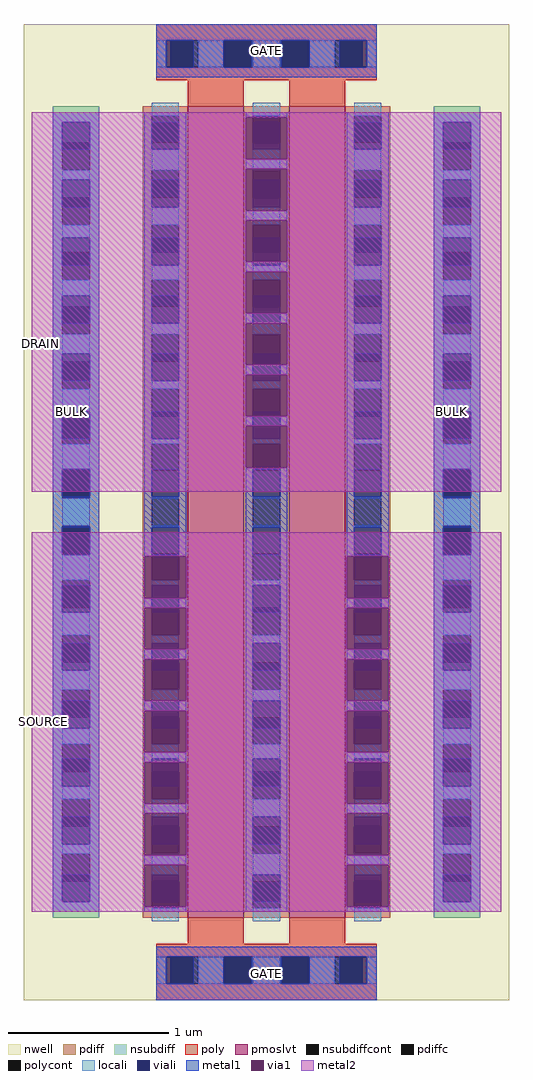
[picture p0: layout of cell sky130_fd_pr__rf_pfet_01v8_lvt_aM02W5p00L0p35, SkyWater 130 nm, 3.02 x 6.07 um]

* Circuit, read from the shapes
.subckt sky130_fd_pr__rf_pfet_01v8_lvt_aM02W5p00L0p35 BULK DRAIN GATE SOURCE
XM1 DRAIN GATE SOURCE BULK sky130_fd_pr__pfet_01v8_lvt w=5.05 l=0.35 m=2
.ends

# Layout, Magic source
magic
tech sky130A
magscale 1 2
<< nwell >>
rect 0 0 604 1214
<< pmoslvt >>
rect 204 102 274 1112
rect 330 102 400 1112
<< pdiff >>
rect 148 1100 204 1112
rect 148 1066 159 1100
rect 193 1066 204 1100
rect 148 1032 204 1066
rect 148 998 159 1032
rect 193 998 204 1032
rect 148 964 204 998
rect 148 930 159 964
rect 193 930 204 964
rect 148 896 204 930
rect 148 862 159 896
rect 193 862 204 896
rect 148 828 204 862
rect 148 794 159 828
rect 193 794 204 828
rect 148 760 204 794
rect 148 726 159 760
rect 193 726 204 760
rect 148 692 204 726
rect 148 658 159 692
rect 193 658 204 692
rect 148 624 204 658
rect 148 590 159 624
rect 193 590 204 624
rect 148 556 204 590
rect 148 522 159 556
rect 193 522 204 556
rect 148 488 204 522
rect 148 454 159 488
rect 193 454 204 488
rect 148 420 204 454
rect 148 386 159 420
rect 193 386 204 420
rect 148 352 204 386
rect 148 318 159 352
rect 193 318 204 352
rect 148 284 204 318
rect 148 250 159 284
rect 193 250 204 284
rect 148 216 204 250
rect 148 182 159 216
rect 193 182 204 216
rect 148 148 204 182
rect 148 114 159 148
rect 193 114 204 148
rect 148 102 204 114
rect 274 1100 330 1112
rect 274 1066 285 1100
rect 319 1066 330 1100
rect 274 1032 330 1066
rect 274 998 285 1032
rect 319 998 330 1032
rect 274 964 330 998
rect 274 930 285 964
rect 319 930 330 964
rect 274 896 330 930
rect 274 862 285 896
rect 319 862 330 896
rect 274 828 330 862
rect 274 794 285 828
rect 319 794 330 828
rect 274 760 330 794
rect 274 726 285 760
rect 319 726 330 760
rect 274 692 330 726
rect 274 658 285 692
rect 319 658 330 692
rect 274 624 330 658
rect 274 590 285 624
rect 319 590 330 624
rect 274 556 330 590
rect 274 522 285 556
rect 319 522 330 556
rect 274 488 330 522
rect 274 454 285 488
rect 319 454 330 488
rect 274 420 330 454
rect 274 386 285 420
rect 319 386 330 420
rect 274 352 330 386
rect 274 318 285 352
rect 319 318 330 352
rect 274 284 330 318
rect 274 250 285 284
rect 319 250 330 284
rect 274 216 330 250
rect 274 182 285 216
rect 319 182 330 216
rect 274 148 330 182
rect 274 114 285 148
rect 319 114 330 148
rect 274 102 330 114
rect 400 1100 456 1112
rect 400 1066 411 1100
rect 445 1066 456 1100
rect 400 1032 456 1066
rect 400 998 411 1032
rect 445 998 456 1032
rect 400 964 456 998
rect 400 930 411 964
rect 445 930 456 964
rect 400 896 456 930
rect 400 862 411 896
rect 445 862 456 896
rect 400 828 456 862
rect 400 794 411 828
rect 445 794 456 828
rect 400 760 456 794
rect 400 726 411 760
rect 445 726 456 760
rect 400 692 456 726
rect 400 658 411 692
rect 445 658 456 692
rect 400 624 456 658
rect 400 590 411 624
rect 445 590 456 624
rect 400 556 456 590
rect 400 522 411 556
rect 445 522 456 556
rect 400 488 456 522
rect 400 454 411 488
rect 445 454 456 488
rect 400 420 456 454
rect 400 386 411 420
rect 445 386 456 420
rect 400 352 456 386
rect 400 318 411 352
rect 445 318 456 352
rect 400 284 456 318
rect 400 250 411 284
rect 445 250 456 284
rect 400 216 456 250
rect 400 182 411 216
rect 445 182 456 216
rect 400 148 456 182
rect 400 114 411 148
rect 445 114 456 148
rect 400 102 456 114
<< pdiffc >>
rect 159 1066 193 1100
rect 159 998 193 1032
rect 159 930 193 964
rect 159 862 193 896
rect 159 794 193 828
rect 159 726 193 760
rect 159 658 193 692
rect 159 590 193 624
rect 159 522 193 556
rect 159 454 193 488
rect 159 386 193 420
rect 159 318 193 352
rect 159 250 193 284
rect 159 182 193 216
rect 159 114 193 148
rect 285 1066 319 1100
rect 285 998 319 1032
rect 285 930 319 964
rect 285 862 319 896
rect 285 794 319 828
rect 285 726 319 760
rect 285 658 319 692
rect 285 590 319 624
rect 285 522 319 556
rect 285 454 319 488
rect 285 386 319 420
rect 285 318 319 352
rect 285 250 319 284
rect 285 182 319 216
rect 285 114 319 148
rect 411 1066 445 1100
rect 411 998 445 1032
rect 411 930 445 964
rect 411 862 445 896
rect 411 794 445 828
rect 411 726 445 760
rect 411 658 445 692
rect 411 590 445 624
rect 411 522 445 556
rect 411 454 445 488
rect 411 386 445 420
rect 411 318 445 352
rect 411 250 445 284
rect 411 182 445 216
rect 411 114 445 148
<< nsubdiff >>
rect 36 1066 94 1112
rect 36 1032 48 1066
rect 82 1032 94 1066
rect 36 998 94 1032
rect 36 964 48 998
rect 82 964 94 998
rect 36 930 94 964
rect 36 896 48 930
rect 82 896 94 930
rect 36 862 94 896
rect 36 828 48 862
rect 82 828 94 862
rect 36 794 94 828
rect 36 760 48 794
rect 82 760 94 794
rect 36 726 94 760
rect 36 692 48 726
rect 82 692 94 726
rect 36 658 94 692
rect 36 624 48 658
rect 82 624 94 658
rect 36 590 94 624
rect 36 556 48 590
rect 82 556 94 590
rect 36 522 94 556
rect 36 488 48 522
rect 82 488 94 522
rect 36 454 94 488
rect 36 420 48 454
rect 82 420 94 454
rect 36 386 94 420
rect 36 352 48 386
rect 82 352 94 386
rect 36 318 94 352
rect 36 284 48 318
rect 82 284 94 318
rect 36 250 94 284
rect 36 216 48 250
rect 82 216 94 250
rect 36 182 94 216
rect 36 148 48 182
rect 82 148 94 182
rect 36 102 94 148
rect 510 1066 568 1112
rect 510 1032 522 1066
rect 556 1032 568 1066
rect 510 998 568 1032
rect 510 964 522 998
rect 556 964 568 998
rect 510 930 568 964
rect 510 896 522 930
rect 556 896 568 930
rect 510 862 568 896
rect 510 828 522 862
rect 556 828 568 862
rect 510 794 568 828
rect 510 760 522 794
rect 556 760 568 794
rect 510 726 568 760
rect 510 692 522 726
rect 556 692 568 726
rect 510 658 568 692
rect 510 624 522 658
rect 556 624 568 658
rect 510 590 568 624
rect 510 556 522 590
rect 556 556 568 590
rect 510 522 568 556
rect 510 488 522 522
rect 556 488 568 522
rect 510 454 568 488
rect 510 420 522 454
rect 556 420 568 454
rect 510 386 568 420
rect 510 352 522 386
rect 556 352 568 386
rect 510 318 568 352
rect 510 284 522 318
rect 556 284 568 318
rect 510 250 568 284
rect 510 216 522 250
rect 556 216 568 250
rect 510 182 568 216
rect 510 148 522 182
rect 556 148 568 182
rect 510 102 568 148
<< nsubdiffcont >>
rect 48 1032 82 1066
rect 48 964 82 998
rect 48 896 82 930
rect 48 828 82 862
rect 48 760 82 794
rect 48 692 82 726
rect 48 624 82 658
rect 48 556 82 590
rect 48 488 82 522
rect 48 420 82 454
rect 48 352 82 386
rect 48 284 82 318
rect 48 216 82 250
rect 48 148 82 182
rect 522 1032 556 1066
rect 522 964 556 998
rect 522 896 556 930
rect 522 828 556 862
rect 522 760 556 794
rect 522 692 556 726
rect 522 624 556 658
rect 522 556 556 590
rect 522 488 556 522
rect 522 420 556 454
rect 522 352 556 386
rect 522 284 556 318
rect 522 216 556 250
rect 522 148 556 182
<< poly >>
rect 165 1194 439 1214
rect 165 1160 183 1194
rect 217 1160 251 1194
rect 285 1160 319 1194
rect 353 1160 387 1194
rect 421 1160 439 1194
rect 165 1144 439 1160
rect 204 1112 274 1144
rect 330 1112 400 1144
rect 204 70 274 102
rect 330 70 400 102
rect 165 54 439 70
rect 165 20 183 54
rect 217 20 251 54
rect 285 20 319 54
rect 353 20 387 54
rect 421 20 439 54
rect 165 0 439 20
<< polycont >>
rect 183 1160 217 1194
rect 251 1160 285 1194
rect 319 1160 353 1194
rect 387 1160 421 1194
rect 183 20 217 54
rect 251 20 285 54
rect 319 20 353 54
rect 387 20 421 54
<< locali >>
rect 165 1160 177 1194
rect 217 1160 249 1194
rect 285 1160 319 1194
rect 355 1160 387 1194
rect 427 1160 439 1194
rect 159 1100 193 1116
rect 48 1020 82 1032
rect 48 948 82 964
rect 48 876 82 896
rect 48 804 82 828
rect 48 732 82 760
rect 48 660 82 692
rect 48 590 82 624
rect 48 522 82 554
rect 48 454 82 482
rect 48 386 82 410
rect 48 318 82 338
rect 48 250 82 266
rect 48 182 82 194
rect 159 1032 193 1058
rect 159 964 193 986
rect 159 896 193 914
rect 159 828 193 842
rect 159 760 193 770
rect 159 692 193 698
rect 159 624 193 626
rect 159 588 193 590
rect 159 516 193 522
rect 159 444 193 454
rect 159 372 193 386
rect 159 300 193 318
rect 159 228 193 250
rect 159 156 193 182
rect 159 98 193 114
rect 285 1100 319 1116
rect 285 1032 319 1058
rect 285 964 319 986
rect 285 896 319 914
rect 285 828 319 842
rect 285 760 319 770
rect 285 692 319 698
rect 285 624 319 626
rect 285 588 319 590
rect 285 516 319 522
rect 285 444 319 454
rect 285 372 319 386
rect 285 300 319 318
rect 285 228 319 250
rect 285 156 319 182
rect 285 98 319 114
rect 411 1100 445 1116
rect 411 1032 445 1058
rect 411 964 445 986
rect 411 896 445 914
rect 411 828 445 842
rect 411 760 445 770
rect 411 692 445 698
rect 411 624 445 626
rect 411 588 445 590
rect 411 516 445 522
rect 411 444 445 454
rect 411 372 445 386
rect 411 300 445 318
rect 411 228 445 250
rect 411 156 445 182
rect 522 1020 556 1032
rect 522 948 556 964
rect 522 876 556 896
rect 522 804 556 828
rect 522 732 556 760
rect 522 660 556 692
rect 522 590 556 624
rect 522 522 556 554
rect 522 454 556 482
rect 522 386 556 410
rect 522 318 556 338
rect 522 250 556 266
rect 522 182 556 194
rect 411 98 445 114
rect 165 20 177 54
rect 217 20 249 54
rect 285 20 319 54
rect 355 20 387 54
rect 427 20 439 54
<< viali >>
rect 177 1160 183 1194
rect 183 1160 211 1194
rect 249 1160 251 1194
rect 251 1160 283 1194
rect 321 1160 353 1194
rect 353 1160 355 1194
rect 393 1160 421 1194
rect 421 1160 427 1194
rect 48 1066 82 1092
rect 48 1058 82 1066
rect 48 998 82 1020
rect 48 986 82 998
rect 48 930 82 948
rect 48 914 82 930
rect 48 862 82 876
rect 48 842 82 862
rect 48 794 82 804
rect 48 770 82 794
rect 48 726 82 732
rect 48 698 82 726
rect 48 658 82 660
rect 48 626 82 658
rect 48 556 82 588
rect 48 554 82 556
rect 48 488 82 516
rect 48 482 82 488
rect 48 420 82 444
rect 48 410 82 420
rect 48 352 82 372
rect 48 338 82 352
rect 48 284 82 300
rect 48 266 82 284
rect 48 216 82 228
rect 48 194 82 216
rect 48 148 82 156
rect 48 122 82 148
rect 159 1066 193 1092
rect 159 1058 193 1066
rect 159 998 193 1020
rect 159 986 193 998
rect 159 930 193 948
rect 159 914 193 930
rect 159 862 193 876
rect 159 842 193 862
rect 159 794 193 804
rect 159 770 193 794
rect 159 726 193 732
rect 159 698 193 726
rect 159 658 193 660
rect 159 626 193 658
rect 159 556 193 588
rect 159 554 193 556
rect 159 488 193 516
rect 159 482 193 488
rect 159 420 193 444
rect 159 410 193 420
rect 159 352 193 372
rect 159 338 193 352
rect 159 284 193 300
rect 159 266 193 284
rect 159 216 193 228
rect 159 194 193 216
rect 159 148 193 156
rect 159 122 193 148
rect 285 1066 319 1092
rect 285 1058 319 1066
rect 285 998 319 1020
rect 285 986 319 998
rect 285 930 319 948
rect 285 914 319 930
rect 285 862 319 876
rect 285 842 319 862
rect 285 794 319 804
rect 285 770 319 794
rect 285 726 319 732
rect 285 698 319 726
rect 285 658 319 660
rect 285 626 319 658
rect 285 556 319 588
rect 285 554 319 556
rect 285 488 319 516
rect 285 482 319 488
rect 285 420 319 444
rect 285 410 319 420
rect 285 352 319 372
rect 285 338 319 352
rect 285 284 319 300
rect 285 266 319 284
rect 285 216 319 228
rect 285 194 319 216
rect 285 148 319 156
rect 285 122 319 148
rect 411 1066 445 1092
rect 411 1058 445 1066
rect 411 998 445 1020
rect 411 986 445 998
rect 411 930 445 948
rect 411 914 445 930
rect 411 862 445 876
rect 411 842 445 862
rect 411 794 445 804
rect 411 770 445 794
rect 411 726 445 732
rect 411 698 445 726
rect 411 658 445 660
rect 411 626 445 658
rect 411 556 445 588
rect 411 554 445 556
rect 411 488 445 516
rect 411 482 445 488
rect 411 420 445 444
rect 411 410 445 420
rect 411 352 445 372
rect 411 338 445 352
rect 411 284 445 300
rect 411 266 445 284
rect 411 216 445 228
rect 411 194 445 216
rect 411 148 445 156
rect 411 122 445 148
rect 522 1066 556 1092
rect 522 1058 556 1066
rect 522 998 556 1020
rect 522 986 556 998
rect 522 930 556 948
rect 522 914 556 930
rect 522 862 556 876
rect 522 842 556 862
rect 522 794 556 804
rect 522 770 556 794
rect 522 726 556 732
rect 522 698 556 726
rect 522 658 556 660
rect 522 626 556 658
rect 522 556 556 588
rect 522 554 556 556
rect 522 488 556 516
rect 522 482 556 488
rect 522 420 556 444
rect 522 410 556 420
rect 522 352 556 372
rect 522 338 556 352
rect 522 284 556 300
rect 522 266 556 284
rect 522 216 556 228
rect 522 194 556 216
rect 522 148 556 156
rect 522 122 556 148
rect 177 20 183 54
rect 183 20 211 54
rect 249 20 251 54
rect 251 20 283 54
rect 321 20 353 54
rect 353 20 355 54
rect 393 20 421 54
rect 421 20 427 54
<< metal1 >>
rect 165 1194 439 1214
rect 165 1160 177 1194
rect 211 1160 249 1194
rect 283 1160 321 1194
rect 355 1160 393 1194
rect 427 1160 439 1194
rect 165 1148 439 1160
rect 36 1092 94 1104
rect 36 1058 48 1092
rect 82 1058 94 1092
rect 36 1020 94 1058
rect 36 986 48 1020
rect 82 986 94 1020
rect 36 948 94 986
rect 36 914 48 948
rect 82 914 94 948
rect 36 876 94 914
rect 36 842 48 876
rect 82 842 94 876
rect 36 804 94 842
rect 36 770 48 804
rect 82 770 94 804
rect 36 732 94 770
rect 36 698 48 732
rect 82 698 94 732
rect 36 660 94 698
rect 36 626 48 660
rect 82 626 94 660
rect 36 588 94 626
rect 36 554 48 588
rect 82 554 94 588
rect 36 516 94 554
rect 36 482 48 516
rect 82 482 94 516
rect 36 444 94 482
rect 36 410 48 444
rect 82 410 94 444
rect 36 372 94 410
rect 36 338 48 372
rect 82 338 94 372
rect 36 300 94 338
rect 36 266 48 300
rect 82 266 94 300
rect 36 228 94 266
rect 36 194 48 228
rect 82 194 94 228
rect 36 156 94 194
rect 36 122 48 156
rect 82 122 94 156
rect 36 110 94 122
rect 150 1092 202 1104
rect 150 1058 159 1092
rect 193 1058 202 1092
rect 150 1020 202 1058
rect 150 986 159 1020
rect 193 986 202 1020
rect 150 948 202 986
rect 150 914 159 948
rect 193 914 202 948
rect 150 876 202 914
rect 150 842 159 876
rect 193 842 202 876
rect 150 804 202 842
rect 150 770 159 804
rect 193 770 202 804
rect 150 732 202 770
rect 150 698 159 732
rect 193 698 202 732
rect 150 660 202 698
rect 150 626 159 660
rect 193 626 202 660
rect 150 588 202 626
rect 150 554 159 588
rect 193 554 202 588
rect 150 552 202 554
rect 150 488 159 500
rect 193 488 202 500
rect 150 424 159 436
rect 193 424 202 436
rect 150 360 159 372
rect 193 360 202 372
rect 150 300 202 308
rect 150 296 159 300
rect 193 296 202 300
rect 150 232 202 244
rect 150 168 202 180
rect 150 110 202 116
rect 276 1098 328 1104
rect 276 1034 328 1046
rect 276 970 328 982
rect 276 914 285 918
rect 319 914 328 918
rect 276 906 328 914
rect 276 842 285 854
rect 319 842 328 854
rect 276 778 285 790
rect 319 778 328 790
rect 276 714 285 726
rect 319 714 328 726
rect 276 660 328 662
rect 276 626 285 660
rect 319 626 328 660
rect 276 588 328 626
rect 276 554 285 588
rect 319 554 328 588
rect 276 516 328 554
rect 276 482 285 516
rect 319 482 328 516
rect 276 444 328 482
rect 276 410 285 444
rect 319 410 328 444
rect 276 372 328 410
rect 276 338 285 372
rect 319 338 328 372
rect 276 300 328 338
rect 276 266 285 300
rect 319 266 328 300
rect 276 228 328 266
rect 276 194 285 228
rect 319 194 328 228
rect 276 156 328 194
rect 276 122 285 156
rect 319 122 328 156
rect 276 110 328 122
rect 402 1092 454 1104
rect 402 1058 411 1092
rect 445 1058 454 1092
rect 402 1020 454 1058
rect 402 986 411 1020
rect 445 986 454 1020
rect 402 948 454 986
rect 402 914 411 948
rect 445 914 454 948
rect 402 876 454 914
rect 402 842 411 876
rect 445 842 454 876
rect 402 804 454 842
rect 402 770 411 804
rect 445 770 454 804
rect 402 732 454 770
rect 402 698 411 732
rect 445 698 454 732
rect 402 660 454 698
rect 402 626 411 660
rect 445 626 454 660
rect 402 588 454 626
rect 402 554 411 588
rect 445 554 454 588
rect 402 552 454 554
rect 402 488 411 500
rect 445 488 454 500
rect 402 424 411 436
rect 445 424 454 436
rect 402 360 411 372
rect 445 360 454 372
rect 402 300 454 308
rect 402 296 411 300
rect 445 296 454 300
rect 402 232 454 244
rect 402 168 454 180
rect 402 110 454 116
rect 510 1092 568 1104
rect 510 1058 522 1092
rect 556 1058 568 1092
rect 510 1020 568 1058
rect 510 986 522 1020
rect 556 986 568 1020
rect 510 948 568 986
rect 510 914 522 948
rect 556 914 568 948
rect 510 876 568 914
rect 510 842 522 876
rect 556 842 568 876
rect 510 804 568 842
rect 510 770 522 804
rect 556 770 568 804
rect 510 732 568 770
rect 510 698 522 732
rect 556 698 568 732
rect 510 660 568 698
rect 510 626 522 660
rect 556 626 568 660
rect 510 588 568 626
rect 510 554 522 588
rect 556 554 568 588
rect 510 516 568 554
rect 510 482 522 516
rect 556 482 568 516
rect 510 444 568 482
rect 510 410 522 444
rect 556 410 568 444
rect 510 372 568 410
rect 510 338 522 372
rect 556 338 568 372
rect 510 300 568 338
rect 510 266 522 300
rect 556 266 568 300
rect 510 228 568 266
rect 510 194 522 228
rect 556 194 568 228
rect 510 156 568 194
rect 510 122 522 156
rect 556 122 568 156
rect 510 110 568 122
rect 165 54 439 66
rect 165 20 177 54
rect 211 20 249 54
rect 283 20 321 54
rect 355 20 393 54
rect 427 20 439 54
rect 165 0 439 20
<< via1 >>
rect 150 516 202 552
rect 150 500 159 516
rect 159 500 193 516
rect 193 500 202 516
rect 150 482 159 488
rect 159 482 193 488
rect 193 482 202 488
rect 150 444 202 482
rect 150 436 159 444
rect 159 436 193 444
rect 193 436 202 444
rect 150 410 159 424
rect 159 410 193 424
rect 193 410 202 424
rect 150 372 202 410
rect 150 338 159 360
rect 159 338 193 360
rect 193 338 202 360
rect 150 308 202 338
rect 150 266 159 296
rect 159 266 193 296
rect 193 266 202 296
rect 150 244 202 266
rect 150 228 202 232
rect 150 194 159 228
rect 159 194 193 228
rect 193 194 202 228
rect 150 180 202 194
rect 150 156 202 168
rect 150 122 159 156
rect 159 122 193 156
rect 193 122 202 156
rect 150 116 202 122
rect 276 1092 328 1098
rect 276 1058 285 1092
rect 285 1058 319 1092
rect 319 1058 328 1092
rect 276 1046 328 1058
rect 276 1020 328 1034
rect 276 986 285 1020
rect 285 986 319 1020
rect 319 986 328 1020
rect 276 982 328 986
rect 276 948 328 970
rect 276 918 285 948
rect 285 918 319 948
rect 319 918 328 948
rect 276 876 328 906
rect 276 854 285 876
rect 285 854 319 876
rect 319 854 328 876
rect 276 804 328 842
rect 276 790 285 804
rect 285 790 319 804
rect 319 790 328 804
rect 276 770 285 778
rect 285 770 319 778
rect 319 770 328 778
rect 276 732 328 770
rect 276 726 285 732
rect 285 726 319 732
rect 319 726 328 732
rect 276 698 285 714
rect 285 698 319 714
rect 319 698 328 714
rect 276 662 328 698
rect 402 516 454 552
rect 402 500 411 516
rect 411 500 445 516
rect 445 500 454 516
rect 402 482 411 488
rect 411 482 445 488
rect 445 482 454 488
rect 402 444 454 482
rect 402 436 411 444
rect 411 436 445 444
rect 445 436 454 444
rect 402 410 411 424
rect 411 410 445 424
rect 445 410 454 424
rect 402 372 454 410
rect 402 338 411 360
rect 411 338 445 360
rect 445 338 454 360
rect 402 308 454 338
rect 402 266 411 296
rect 411 266 445 296
rect 445 266 454 296
rect 402 244 454 266
rect 402 228 454 232
rect 402 194 411 228
rect 411 194 445 228
rect 445 194 454 228
rect 402 180 454 194
rect 402 156 454 168
rect 402 122 411 156
rect 411 122 445 156
rect 445 122 454 156
rect 402 116 454 122
<< metal2 >>
rect 10 1098 594 1104
rect 10 1046 276 1098
rect 328 1046 594 1098
rect 10 1034 594 1046
rect 10 982 276 1034
rect 328 982 594 1034
rect 10 970 594 982
rect 10 918 276 970
rect 328 918 594 970
rect 10 906 594 918
rect 10 854 276 906
rect 328 854 594 906
rect 10 842 594 854
rect 10 790 276 842
rect 328 790 594 842
rect 10 778 594 790
rect 10 726 276 778
rect 328 726 594 778
rect 10 714 594 726
rect 10 662 276 714
rect 328 662 594 714
rect 10 632 594 662
rect 10 552 594 582
rect 10 500 150 552
rect 202 500 402 552
rect 454 500 594 552
rect 10 488 594 500
rect 10 436 150 488
rect 202 436 402 488
rect 454 436 594 488
rect 10 424 594 436
rect 10 372 150 424
rect 202 372 402 424
rect 454 372 594 424
rect 10 360 594 372
rect 10 308 150 360
rect 202 308 402 360
rect 454 308 594 360
rect 10 296 594 308
rect 10 244 150 296
rect 202 244 402 296
rect 454 244 594 296
rect 10 232 594 244
rect 10 180 150 232
rect 202 180 402 232
rect 454 180 594 232
rect 10 168 594 180
rect 10 116 150 168
rect 202 116 402 168
rect 454 116 594 168
rect 10 110 594 116
<< labels >>
flabel metal2 s 12 781 31 851 0 FreeSans 400 90 0 0 DRAIN
port 2 nsew
flabel metal2 s 14 315 35 379 0 FreeSans 400 90 0 0 SOURCE
port 4 nsew
flabel metal1 s 165 0 439 66 0 FreeSans 300 0 0 0 GATE
port 3 nsew
flabel metal1 s 165 1148 439 1214 0 FreeSans 300 0 0 0 GATE
port 3 nsew
flabel metal1 s 60 732 60 732 7 FreeSans 400 90 0 0 BULK
port 1 nsew
flabel metal1 s 532 732 532 732 7 FreeSans 400 90 0 0 BULK
port 1 nsew
<< properties >>
string GDS_FILE $PDKPATH/libs.ref/sky130_fd_pr/gds/sky130_fd_pr.gds
string GDS_END 9973328
string GDS_START 9957676
<< end >>
